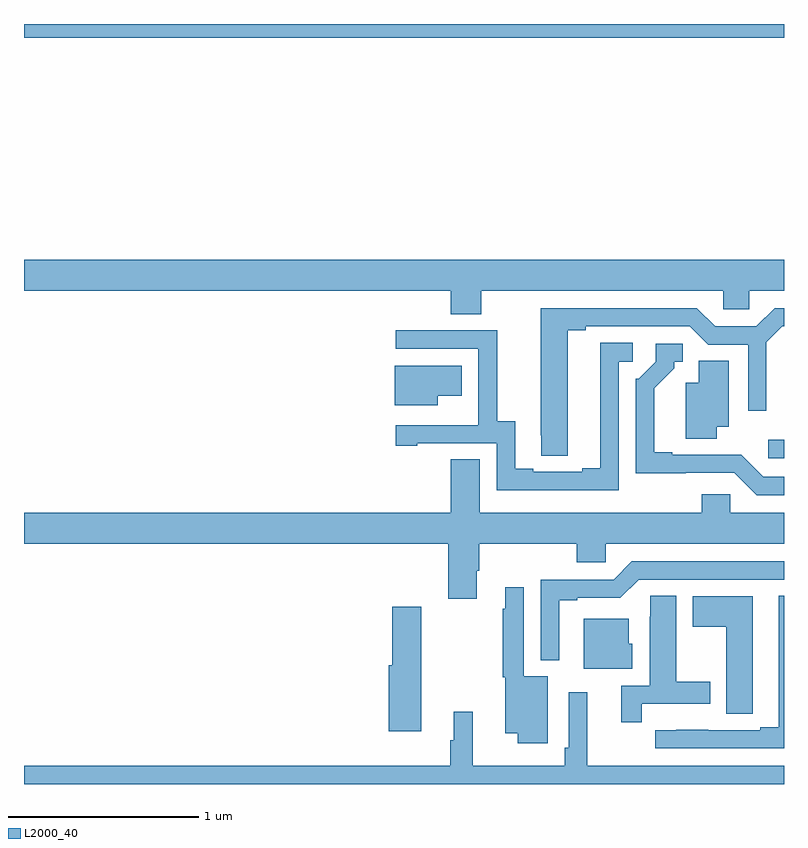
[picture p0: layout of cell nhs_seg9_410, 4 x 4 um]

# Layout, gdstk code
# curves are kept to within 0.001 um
import gdstk
lib = gdstk.Library(unit=1e-6, precision=1e-09)
def R(c, l, rs):  # rectangles x0, y0, x1, y1
    for r in rs: c.add(gdstk.rectangle(r[:2], r[2:], *l))
def P(c, l, *ps):  # polygons
    for p in ps: c.add(gdstk.Polygon(p, *l))
L2000_40 = (2000, 40)

nhs_seg9_410 = lib.new_cell('nhs_seg9_410')
R(nhs_seg9_410, L2000_40, [(134.916,1186.215,135,1186.312), (131,1188.428,135,1188.5)])
P(nhs_seg9_410, L2000_40, [(133.407,1187.096),(134.679,1187.096),(134.679,1186.998),(134.817,1186.998),(134.817,1187.096),(135,1187.096),(135,1187.26),(131,1187.26),(131,1187.096),(133.247,1187.096),(133.247,1186.972),(133.407,1186.972)],
  [(133.861,1186.888),(133.957,1186.888),(133.957,1186.908),(134.505,1186.908),(134.601,1186.812),(134.811,1186.812),(134.811,1186.464),(134.907,1186.464),(134.907,1186.824),(134.991,1186.908),(135,1186.908),(135,1187.004),(134.951,1187.004),(134.855,1186.908),(134.637,1186.908),(134.541,1187.004),(133.721,1187.004),(133.722,1186.228),(133.861,1186.228)],
  [(134.13,1186.722),(134.203,1186.722),(134.203,1186.823),(134.033,1186.823),(134.033,1186.163),(133.937,1186.163),(133.937,1186.143),(133.681,1186.143),(133.681,1186.158),(133.585,1186.158),(133.585,1186.409),(133.491,1186.409),(133.491,1186.887),(132.957,1186.887),(132.957,1186.791),(133.392,1186.791),(133.392,1186.39),(133.391,1186.39),(133.391,1186.389),(132.957,1186.389),(132.957,1186.281),(133.069,1186.281),(133.069,1186.293),(133.488,1186.293),(133.488,1186.047),(134.13,1186.047)],
  [(135,1186.116),(134.892,1186.116),(134.774,1186.234),(134.413,1186.233),(134.413,1186.246),(134.317,1186.246),(134.317,1186.582),(134.422,1186.687),(134.422,1186.722),(134.467,1186.722),(134.467,1186.818),(134.325,1186.818),(134.325,1186.722),(134.235,1186.632),(134.22,1186.632),(134.22,1186.136),(134.739,1186.137),(134.856,1186.02),(135,1186.02)],
  [(134.647,1186.379),(134.71,1186.379),(134.71,1186.727),(134.552,1186.727),(134.552,1186.612),(134.483,1186.612),(134.483,1186.318),(134.647,1186.318)],
  [(133.177,1186.544),(133.303,1186.544),(133.303,1186.702),(132.95,1186.702),(132.95,1186.493),(133.177,1186.493)],
  [(133.384,1185.622),(133.397,1185.622),(133.397,1185.764),(133.91,1185.764),(133.91,1185.666),(134.061,1185.666),(134.061,1185.764),(135,1185.764),(135,1185.928),(134.718,1185.928),(134.718,1186.026),(134.567,1186.026),(134.567,1185.928),(133.399,1185.928),(133.399,1186.208),(133.247,1186.208),(133.247,1185.928),(131,1185.928),(131,1185.764),(133.232,1185.764),(133.232,1185.474),(133.384,1185.474)],
  [(133.816,1185.468),(133.912,1185.468),(133.912,1185.48),(134.139,1185.48),(134.235,1185.576),(135,1185.576),(135,1185.672),(134.199,1185.672),(134.103,1185.576),(133.719,1185.576),(133.719,1185.152),(133.816,1185.152)],
  [(133.756,1185.067),(133.629,1185.067),(133.629,1185.535),(133.532,1185.535),(133.532,1185.422),(133.521,1185.422),(133.521,1185.063),(133.532,1185.063),(133.532,1184.768),(133.598,1184.768),(133.598,1184.715),(133.756,1184.715)],
  [(134.252,1184.922),(134.611,1184.922),(134.611,1185.039),(134.434,1185.039),(134.434,1185.491),(134.295,1185.491),(134.295,1185.38),(134.294,1185.38),(134.294,1185.018),(134.144,1185.018),(134.144,1184.826),(134.252,1184.826)],
  [(135,1185.491),(134.972,1185.491),(134.972,1184.799),(134.876,1184.799),(134.876,1184.784),(134.6,1184.784),(134.6,1184.785),(134.434,1184.785),(134.434,1184.784),(134.322,1184.784),(134.322,1184.688),(135,1184.688)],
  [(134.835,1184.977),(134.836,1184.977),(134.836,1185.487),(134.519,1185.487),(134.519,1185.328),(134.696,1185.328),(134.696,1184.869),(134.835,1184.869)],
  [(133.09,1185.126),(133.092,1185.126),(133.092,1185.433),(132.938,1185.433),(132.938,1185.126),(132.92,1185.126),(132.92,1184.778),(133.09,1184.778)],
  [(134.2,1185.237),(134.182,1185.237),(134.182,1185.37),(133.946,1185.37),(133.946,1185.107),(134.2,1185.107)],
  [(135,1184.596),(133.964,1184.596),(133.964,1184.983),(133.866,1184.983),(133.866,1184.692),(133.846,1184.692),(133.846,1184.596),(133.362,1184.596),(133.362,1184.881),(133.262,1184.881),(133.262,1184.73),(133.243,1184.73),(133.243,1184.596),(131,1184.596),(131,1184.5),(135,1184.5)])

lib.write_gds('nhs_seg9_410.gds')
